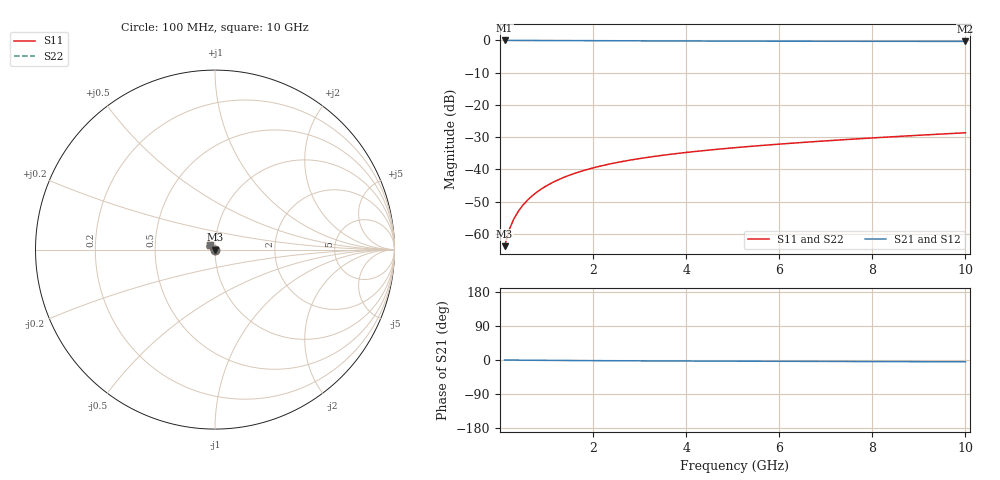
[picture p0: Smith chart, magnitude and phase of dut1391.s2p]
! Touchstone file exported from HFSS 2024.1.0
!  File:  C:/UserFiles/LocalFiles/RDL_TSV_Batchsim/temp_TSV1_1391_1780381239.aedt
!  Generated:  02:27:38 PM Jun  2, 2026
!  Design:  TSV1
!  Project:  temp_TSV1_1391_1780381239
!  Setup:  Setup1
!  Solution:  Sweep
! Variables:
!  dtsv = 6.41um
!  hbump = 3um
!  htsv = 68.07um
!  lrdl = 252.1521522um
!  p = 40
!  p1 = 55.72um
!  t = 500um
!  trdl = 3um
!  wrdl = 24.89489489um
# GHz S MA R 50.000000
! Terminal data exported
! Port[1] = TSV22_T1
! Port[2] = TSV22_T2
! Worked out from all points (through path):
!   100 points, 100 MHz to 10 GHz, reference 50 ohm
!   highest |S21| = 0.00 dB at 100 MHz (marker M1); lowest = -0.3 dB at 10 GHz (marker M2)
!   lowest |S11| = -63.8 dB at 100 MHz (marker M3), VSWR 1.00, Z = 50 - j0.0577 ohm
!   |S11| at or under -10 dB: start of sweep to end of sweep
!   |S22| runs from -63.8 to -28.6 dB; largest |S21 - S12| = 5.4e-15
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0.1  0.0006445 -63.4  0.9997 -0.1  0.9997 -0.1  0.0006445 -63.4
! Gamma 0 0 0 0
! Port Impedance 50 0 50 0
0.2  0.001168 -79.6  0.9996 -0.2  0.9996 -0.2  0.001168 -79.6
0.3  0.001717 -87.2  0.9994 -0.3  0.9994 -0.3  0.001717 -87.2
0.4  0.002272 -92.3  0.9992 -0.4  0.9992 -0.4  0.002272 -92.3
0.5  0.002828 -96.3  0.999 -0.5  0.999 -0.5  0.002828 -96.3
0.6  0.003383 -99.8  0.9987 -0.6  0.9987 -0.6  0.003383 -99.8
0.7  0.003935 -103.0  0.9984 -0.7  0.9984 -0.7  0.003935 -103.0
0.8  0.004484 -106.0  0.998 -0.8  0.998 -0.8  0.004484 -106.0
0.9  0.005029 -108.8  0.9977 -0.8  0.9977 -0.8  0.005029 -108.8
1.1  0.0061 -114.1  0.9968 -1.0  0.9968 -1.0  0.0061 -114.1
1.4  0.007653 -121.5  0.9952 -1.2  0.9952 -1.2  0.007653 -121.5
1.6  0.008649 -126.1  0.9941 -1.4  0.9941 -1.4  0.008649 -126.1
1.8  0.009611 -130.6  0.9929 -1.5  0.9929 -1.5  0.009611 -130.5
2.1  0.01099 -136.9  0.9911 -1.7  0.9911 -1.7  0.01099 -136.9
2.5  0.01272 -144.8  0.9887 -2.0  0.9887 -2.0  0.01272 -144.8
2.9  0.01433 -152.1  0.9864 -2.2  0.9864 -2.2  0.01433 -152.1
3.4  0.01621 -160.4  0.9836 -2.4  0.9836 -2.4  0.01621 -160.4
4.2  0.01897 -172.1  0.9798 -2.8  0.9798 -2.8  0.01897 -172.1
5.1  0.02187 176.8  0.9764 -3.1  0.9764 -3.1  0.02187 176.8
6.7  0.02678 161.4  0.9721 -3.7  0.9721 -3.7  0.02678 161.4
8.4  0.03197 149.2  0.969 -4.2  0.969 -4.2  0.03197 149.2
10  0.03696 140.4  0.967 -4.8  0.967 -4.8  0.03696 140.4
